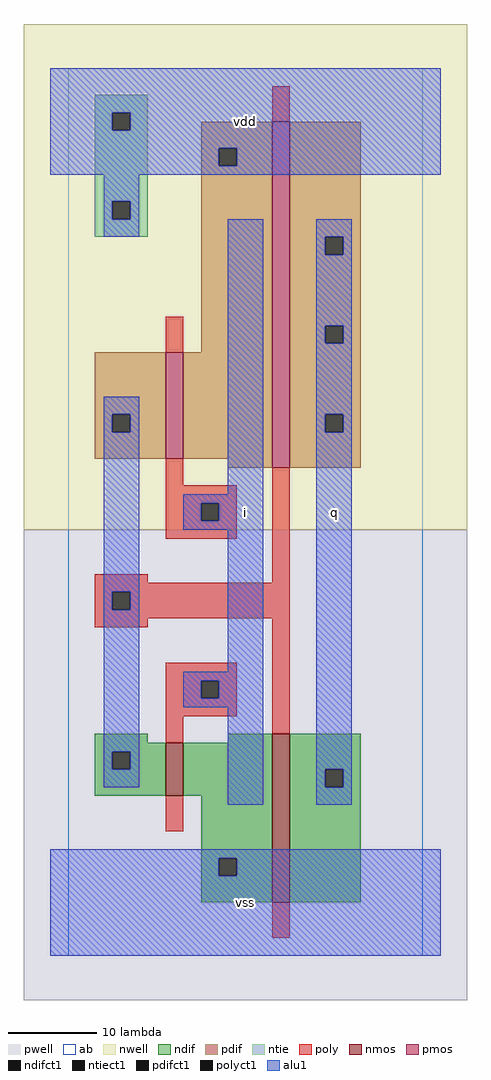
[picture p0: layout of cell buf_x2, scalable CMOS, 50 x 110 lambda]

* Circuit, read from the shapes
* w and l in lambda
.subckt buf_x2 i q vdd vss
M1 vss i n1 VSUBS nfet w=6 l=2
M2 q n1 vss VSUBS nfet w=19 l=2
M3 vdd i n1 vdd pfet w=12 l=2
M4 q n1 vdd vdd pfet w=39 l=2
.ends

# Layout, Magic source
magic
tech scmos
<< ab >>
rect 0 0 40 100
<< nwell >>
rect -5 48 45 105
<< pwell >>
rect -5 -5 45 48
<< poly >>
rect 23 94 25 98
rect 11 68 13 72
rect 11 53 13 56
rect 11 51 19 53
rect 11 49 15 51
rect 17 49 19 51
rect 11 47 19 49
rect 3 42 9 43
rect 23 42 25 55
rect 3 41 25 42
rect 3 39 5 41
rect 7 39 25 41
rect 3 38 25 39
rect 3 37 9 38
rect 11 31 19 33
rect 11 29 15 31
rect 17 29 19 31
rect 11 27 19 29
rect 11 24 13 27
rect 23 25 25 38
rect 11 14 13 18
rect 23 2 25 6
<< ndif >>
rect 3 24 9 25
rect 18 24 23 25
rect 3 23 11 24
rect 3 21 5 23
rect 7 21 11 23
rect 3 18 11 21
rect 13 18 23 24
rect 15 11 23 18
rect 15 9 17 11
rect 19 9 23 11
rect 15 6 23 9
rect 25 21 33 25
rect 25 19 29 21
rect 31 19 33 21
rect 25 6 33 19
<< pdif >>
rect 15 91 23 94
rect 15 89 17 91
rect 19 89 23 91
rect 15 68 23 89
rect 3 61 11 68
rect 3 59 5 61
rect 7 59 11 61
rect 3 56 11 59
rect 13 56 23 68
rect 18 55 23 56
rect 25 81 33 94
rect 25 79 29 81
rect 31 79 33 81
rect 25 71 33 79
rect 25 69 29 71
rect 31 69 33 71
rect 25 61 33 69
rect 25 59 29 61
rect 31 59 33 61
rect 25 55 33 59
<< alu1 >>
rect -2 95 42 100
rect -2 93 5 95
rect 7 93 42 95
rect -2 91 42 93
rect -2 89 17 91
rect 19 89 42 91
rect -2 88 42 89
rect 4 85 8 88
rect 4 83 5 85
rect 7 83 8 85
rect 4 81 8 83
rect 4 61 8 63
rect 4 59 5 61
rect 7 59 8 61
rect 4 41 8 59
rect 18 52 22 83
rect 13 51 22 52
rect 13 49 15 51
rect 17 49 22 51
rect 13 48 22 49
rect 4 39 5 41
rect 7 39 8 41
rect 4 23 8 39
rect 18 32 22 48
rect 13 31 22 32
rect 13 29 15 31
rect 17 29 22 31
rect 13 28 22 29
rect 4 21 5 23
rect 7 21 8 23
rect 4 19 8 21
rect 18 17 22 28
rect 28 81 32 83
rect 28 79 29 81
rect 31 79 32 81
rect 28 71 32 79
rect 28 69 29 71
rect 31 69 32 71
rect 28 61 32 69
rect 28 59 29 61
rect 31 59 32 61
rect 28 21 32 59
rect 28 19 29 21
rect 31 19 32 21
rect 28 17 32 19
rect -2 11 42 12
rect -2 9 17 11
rect 19 9 42 11
rect -2 0 42 9
<< ntie >>
rect 3 95 9 97
rect 3 93 5 95
rect 7 93 9 95
rect 3 85 9 93
rect 3 83 5 85
rect 7 83 9 85
rect 3 81 9 83
<< nmos >>
rect 11 18 13 24
rect 23 6 25 25
<< pmos >>
rect 11 56 13 68
rect 23 55 25 94
<< polyct1 >>
rect 15 49 17 51
rect 5 39 7 41
rect 15 29 17 31
<< ndifct1 >>
rect 5 21 7 23
rect 17 9 19 11
rect 29 19 31 21
<< ntiect1 >>
rect 5 93 7 95
rect 5 83 7 85
<< pdifct1 >>
rect 17 89 19 91
rect 5 59 7 61
rect 29 79 31 81
rect 29 69 31 71
rect 29 59 31 61
<< labels >>
rlabel alu1 20 6 20 6 6 vss
rlabel alu1 20 50 20 50 6 i
rlabel alu1 20 94 20 94 6 vdd
rlabel alu1 30 50 30 50 6 q
<< end >>
